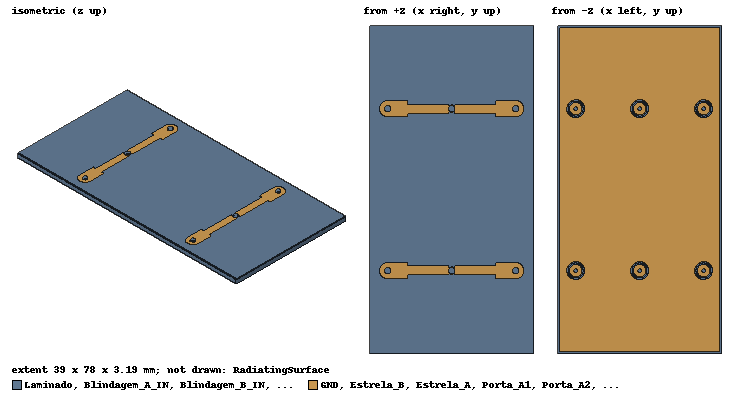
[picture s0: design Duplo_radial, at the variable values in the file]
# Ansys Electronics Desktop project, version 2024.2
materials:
  vacuum: permittivity=1
  ZYF300CA_C: permittivity=2.94 dielectric_loss_tangent=0.0016
  SAC305: permeability=1 conductivity=7575758
  PTFE_UT141: permittivity=2.036 dielectric_loss_tangent=0.0002
  copper: permeability=0.999991 conductivity=58000000
  NiP_estimado: permeability=1 conductivity=1500000
  Ouro_nom: permeability=1 conductivity=41000000
  Cobre_Groiss_equivalente: permeability=1 conductivity=28688604

design Duplo_radial (HFSS, HFSS Hybrid Modal Network, model units mm)
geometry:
  Laminado [ZYF300CA_C] = box(corner=(-19.5mm, -39mm, 0mm), size=(39mm, 78mm, 1.52mm))
  GND = polyline(z=0mm, xy in mm: (-18.98, -38.48) (18.98, -38.48) (18.98, 38.48) (-18.98, 38.48) (-18.98, -38.48), closed, covered)
  Estrela_B = polyline(z=1.52mm, xy in mm: (-15.45269871, 17.33056275) (-15.70107367, 17.3799676) (-15.94087513, 17.46136923) (-16.168, 17.57337482) (-16.37856213, 17.71406793) (-16.56895873, 17.88104127) (-16.73593207, 18.07143787) (-16.87662518, 18.282) (-16.98863077, 18.50912487) (-17.0700324, 18.74892633) (-17.11943725, 18.99730129) (-17.136, 19.25) (-17.11943725, 19.50269871) (-17.0700324, 19.75107367) (-16.98863077, 19.99087513) (-16.87662518, 20.218) (-16.73593207, 20.42856213) (-16.56895873, 20.61895873) (-16.37856213, 20.78593207) (-16.168, 20.92662518) (-15.94087513, 21.03863077) (-15.70107367, 21.1200324) (-15.45269871, 21.16943725) (-15.2, 21.186) (-10.388, 21.186) (-10.388, 20.316) (-0.6, 20.316) (-0.6, 19.86522572) (-0.52353483, 19.93228387) (-0.43, 19.99478185) (-0.32910775, 20.0445364) (-0.22258438, 20.08069621) (-0.11225253, 20.10264258) (0, 20.11) (0.11225253, 20.10264258) (0.22258438, 20.08069621) (0.32910775, 20.0445364) (0.43, 19.99478185) (0.52353483, 19.93228387) (0.6, 19.86522572) (0.6, 20.316) (10.388, 20.316) (10.388, 21.186) (15.2, 21.186) (15.45269871, 21.16943725) (15.70107367, 21.1200324) (15.94087513, 21.03863077) (16.168, 20.92662518) (16.37856213, 20.78593207) (16.56895873, 20.61895873) (16.73593207, 20.42856213) (16.87662518, 20.218) (16.98863077, 19.99087513) (17.0700324, 19.75107367) (17.11943725, 19.50269871) (17.136, 19.25) (17.11943725, 18.99730129) (17.0700324, 18.74892633) (16.98863077, 18.50912487) (16.87662518, 18.282) (16.73593207, 18.07143787) (16.56895873, 17.88104127) (16.37856213, 17.71406793) (16.168, 17.57337482) (15.94087513, 17.46136923) (15.70107367, 17.3799676) (15.45269871, 17.33056275) (15.2, 17.314) (10.388, 17.314) (10.388, 18.184) (0.6, 18.184) (0.6, 18.63477428) (0.52353483, 18.56771613) (0.43, 18.50521815) (0.32910775, 18.4554636) (0.22258438, 18.41930379) (0.11225253, 18.39735742) (0, 18.39) (-0.11225253, 18.39735742) (-0.22258438, 18.41930379) (-0.32910775, 18.4554636) (-0.43, 18.50521815) (-0.52353483, 18.56771613) (-0.6, 18.63477428) (-0.6, 18.184) (-10.388, 18.184) (-10.388, 17.314) (-15.2, 17.314) (-15.2, 17.314) (-15.45269871, 17.33056275), closed, covered)
  Estrela_A = polyline(z=1.52mm, xy in mm: (-10.388, -17.314) (-10.388, -18.184) (-0.6, -18.184) (-0.6, -18.63477428) (-0.52353483, -18.56771613) (-0.43, -18.50521815) (-0.32910775, -18.4554636) (-0.22258438, -18.41930379) (-0.11225253, -18.39735742) (0, -18.39) (0.11225253, -18.39735742) (0.22258438, -18.41930379) (0.32910775, -18.4554636) (0.43, -18.50521815) (0.52353483, -18.56771613) (0.6, -18.63477428) (0.6, -18.184) (10.388, -18.184) (10.388, -17.314) (15.2, -17.314) (15.45269871, -17.33056275) (15.70107367, -17.3799676) (15.94087513, -17.46136923) (16.168, -17.57337482) (16.37856213, -17.71406793) (16.56895873, -17.88104127) (16.73593207, -18.07143787) (16.87662518, -18.282) (16.98863077, -18.50912487) (17.0700324, -18.74892633) (17.11943725, -18.99730129) (17.136, -19.25) (17.11943725, -19.50269871) (17.0700324, -19.75107367) (16.98863077, -19.99087513) (16.87662518, -20.218) (16.73593207, -20.42856213) (16.56895873, -20.61895873) (16.37856213, -20.78593207) (16.168, -20.92662518) (15.94087513, -21.03863077) (15.70107367, -21.1200324) (15.45269871, -21.16943725) (15.2, -21.186) (10.388, -21.186) (10.388, -20.316) (0.6, -20.316) (0.6, -19.86522572) (0.52353483, -19.93228387) (0.43, -19.99478185) (0.32910775, -20.0445364) (0.22258438, -20.08069621) (0.11225253, -20.10264258) (0, -20.11) (-0.11225253, -20.10264258) (-0.22258438, -20.08069621) (-0.32910775, -20.0445364) (-0.43, -19.99478185) (-0.52353483, -19.93228387) (-0.6, -19.86522572) (-0.6, -20.316) (-10.388, -20.316) (-10.388, -21.186) (-15.2, -21.186) (-15.45269871, -21.16943725) (-15.70107367, -21.1200324) (-15.94087513, -21.03863077) (-16.168, -20.92662518) (-16.37856213, -20.78593207) (-16.56895873, -20.61895873) (-16.73593207, -20.42856213) (-16.87662518, -20.218) (-16.98863077, -19.99087513) (-17.0700324, -19.75107367) (-17.11943725, -19.50269871) (-17.136, -19.25) (-17.11943725, -18.99730129) (-17.0700324, -18.74892633) (-16.98863077, -18.50912487) (-16.87662518, -18.282) (-16.73593207, -18.07143787) (-16.56895873, -17.88104127) (-16.37856213, -17.71406793) (-16.168, -17.57337482) (-15.94087513, -17.46136923) (-15.70107367, -17.3799676) (-15.45269871, -17.33056275) (-15.2, -17.314) (-15.2, -17.314) (-10.388, -17.314), closed, covered)
  Abertura_A_IN = circle(normal=Z, centre=(0mm, -19.25mm, 0mm), radius=1.515mm, segments=24)
  Pino_A_IN [copper] = cylinder(axis=Z, base_centre=(0mm, -19.25mm, 0mm), radius=0.525mm, height=1.52mm, segments=24)
  Anel_A_IN = circle(normal=Z, centre=(0mm, -19.25mm, 0mm), radius=0.73mm, segments=24)
  Blindagem_A_IN [copper] = cylinder(axis=Z, base_centre=(0mm, -19.25mm, -1.5mm), radius=1.7905mm, height=1.5mm, segments=24)
  PTFE_A_IN [PTFE_UT141] = cylinder(axis=Z, base_centre=(0mm, -19.25mm, -1.5mm), radius=1.515mm, height=1.5mm, segments=24)
  PTFE_A_IN_1 = PTFE_A_IN.copy()
  Blindagem_A_IN.subtract(PTFE_A_IN_1)
  Central_A_IN [copper] = cylinder(axis=Z, base_centre=(0mm, -19.25mm, -1.5mm), radius=0.45975mm, height=1.5mm, segments=24)
  Central_A_IN_1 = Central_A_IN.copy()
  PTFE_A_IN.subtract(Central_A_IN_1)
  Solda_ext_A_IN [SAC305] = cylinder(axis=Z, base_centre=(0mm, -19.25mm, -0.18mm), radius=2.13mm, height=0.18mm, segments=24)
  Recorte_ext_A_IN = cylinder(axis=Z, base_centre=(0mm, -19.25mm, -0.18mm), radius=1.7905mm, height=0.18mm, segments=24)
  Solda_ext_A_IN.subtract(Recorte_ext_A_IN)
  Solda_top_A_IN [SAC305] = cylinder(axis=Z, base_centre=(0mm, -19.25mm, 1.52mm), radius=0.74mm, height=0.17mm, segments=24)
  Abertura_A1 = circle(normal=Z, centre=(-15.2mm, -19.25mm, 0mm), radius=1.515mm, segments=24)
  Pino_A1 [copper] = cylinder(axis=Z, base_centre=(-15.2mm, -19.25mm, 0mm), radius=0.525mm, height=1.52mm, segments=24)
  Anel_A1 = circle(normal=Z, centre=(-15.2mm, -19.25mm, 0mm), radius=0.73mm, segments=24)
  Blindagem_A1 [copper] = cylinder(axis=Z, base_centre=(-15.2mm, -19.25mm, -1.5mm), radius=1.7905mm, height=1.5mm, segments=24)
  PTFE_A1 [PTFE_UT141] = cylinder(axis=Z, base_centre=(-15.2mm, -19.25mm, -1.5mm), radius=1.515mm, height=1.5mm, segments=24)
  PTFE_A1_1 = PTFE_A1.copy()
  Blindagem_A1.subtract(PTFE_A1_1)
  Central_A1 [copper] = cylinder(axis=Z, base_centre=(-15.2mm, -19.25mm, -1.5mm), radius=0.45975mm, height=1.5mm, segments=24)
  Central_A1_1 = Central_A1.copy()
  PTFE_A1.subtract(Central_A1_1)
  Solda_ext_A1 [SAC305] = cylinder(axis=Z, base_centre=(-15.2mm, -19.25mm, -0.18mm), radius=2.13mm, height=0.18mm, segments=24)
  Recorte_ext_A1 = cylinder(axis=Z, base_centre=(-15.2mm, -19.25mm, -0.18mm), radius=1.7905mm, height=0.18mm, segments=24)
  Solda_ext_A1.subtract(Recorte_ext_A1)
  Solda_top_A1 [SAC305] = cylinder(axis=Z, base_centre=(-15.2mm, -19.25mm, 1.52mm), radius=0.74mm, height=0.17mm, segments=24)
  Abertura_A2 = circle(normal=Z, centre=(15.2mm, -19.25mm, 0mm), radius=1.515mm, segments=24)
  Pino_A2 [copper] = cylinder(axis=Z, base_centre=(15.2mm, -19.25mm, 0mm), radius=0.525mm, height=1.52mm, segments=24)
  Anel_A2 = circle(normal=Z, centre=(15.2mm, -19.25mm, 0mm), radius=0.73mm, segments=24)
  Blindagem_A2 [copper] = cylinder(axis=Z, base_centre=(15.2mm, -19.25mm, -1.5mm), radius=1.7905mm, height=1.5mm, segments=24)
  PTFE_A2 [PTFE_UT141] = cylinder(axis=Z, base_centre=(15.2mm, -19.25mm, -1.5mm), radius=1.515mm, height=1.5mm, segments=24)
  PTFE_A2_1 = PTFE_A2.copy()
  Blindagem_A2.subtract(PTFE_A2_1)
  Central_A2 [copper] = cylinder(axis=Z, base_centre=(15.2mm, -19.25mm, -1.5mm), radius=0.45975mm, height=1.5mm, segments=24)
  Central_A2_1 = Central_A2.copy()
  PTFE_A2.subtract(Central_A2_1)
  Solda_ext_A2 [SAC305] = cylinder(axis=Z, base_centre=(15.2mm, -19.25mm, -0.18mm), radius=2.13mm, height=0.18mm, segments=24)
  Recorte_ext_A2 = cylinder(axis=Z, base_centre=(15.2mm, -19.25mm, -0.18mm), radius=1.7905mm, height=0.18mm, segments=24)
  Solda_ext_A2.subtract(Recorte_ext_A2)
  Solda_top_A2 [SAC305] = cylinder(axis=Z, base_centre=(15.2mm, -19.25mm, 1.52mm), radius=0.74mm, height=0.17mm, segments=24)
  Abertura_B_IN = circle(normal=Z, centre=(0mm, 19.25mm, 0mm), radius=1.515mm, segments=24)
  Pino_B_IN [copper] = cylinder(axis=Z, base_centre=(0mm, 19.25mm, 0mm), radius=0.525mm, height=1.52mm, segments=24)
  Anel_B_IN = circle(normal=Z, centre=(0mm, 19.25mm, 0mm), radius=0.73mm, segments=24)
  Blindagem_B_IN [copper] = cylinder(axis=Z, base_centre=(0mm, 19.25mm, -1.5mm), radius=1.7905mm, height=1.5mm, segments=24)
  PTFE_B_IN [PTFE_UT141] = cylinder(axis=Z, base_centre=(0mm, 19.25mm, -1.5mm), radius=1.515mm, height=1.5mm, segments=24)
  PTFE_B_IN_1 = PTFE_B_IN.copy()
  Blindagem_B_IN.subtract(PTFE_B_IN_1)
  Central_B_IN [copper] = cylinder(axis=Z, base_centre=(0mm, 19.25mm, -1.5mm), radius=0.45975mm, height=1.5mm, segments=24)
  Central_B_IN_1 = Central_B_IN.copy()
  PTFE_B_IN.subtract(Central_B_IN_1)
  Solda_ext_B_IN [SAC305] = cylinder(axis=Z, base_centre=(0mm, 19.25mm, -0.18mm), radius=2.13mm, height=0.18mm, segments=24)
  Recorte_ext_B_IN = cylinder(axis=Z, base_centre=(0mm, 19.25mm, -0.18mm), radius=1.7905mm, height=0.18mm, segments=24)
  Solda_ext_B_IN.subtract(Recorte_ext_B_IN)
  Solda_top_B_IN [SAC305] = cylinder(axis=Z, base_centre=(0mm, 19.25mm, 1.52mm), radius=0.74mm, height=0.17mm, segments=24)
  Abertura_B1 = circle(normal=Z, centre=(-15.2mm, 19.25mm, 0mm), radius=1.515mm, segments=24)
  Pino_B1 [copper] = cylinder(axis=Z, base_centre=(-15.2mm, 19.25mm, 0mm), radius=0.525mm, height=1.52mm, segments=24)
  Anel_B1 = circle(normal=Z, centre=(-15.2mm, 19.25mm, 0mm), radius=0.73mm, segments=24)
  Blindagem_B1 [copper] = cylinder(axis=Z, base_centre=(-15.2mm, 19.25mm, -1.5mm), radius=1.7905mm, height=1.5mm, segments=24)
  PTFE_B1 [PTFE_UT141] = cylinder(axis=Z, base_centre=(-15.2mm, 19.25mm, -1.5mm), radius=1.515mm, height=1.5mm, segments=24)
  PTFE_B1_1 = PTFE_B1.copy()
  Blindagem_B1.subtract(PTFE_B1_1)
  Central_B1 [copper] = cylinder(axis=Z, base_centre=(-15.2mm, 19.25mm, -1.5mm), radius=0.45975mm, height=1.5mm, segments=24)
  Central_B1_1 = Central_B1.copy()
  PTFE_B1.subtract(Central_B1_1)
  Solda_ext_B1 [SAC305] = cylinder(axis=Z, base_centre=(-15.2mm, 19.25mm, -0.18mm), radius=2.13mm, height=0.18mm, segments=24)
  Recorte_ext_B1 = cylinder(axis=Z, base_centre=(-15.2mm, 19.25mm, -0.18mm), radius=1.7905mm, height=0.18mm, segments=24)
  Solda_ext_B1.subtract(Recorte_ext_B1)
  Solda_top_B1 [SAC305] = cylinder(axis=Z, base_centre=(-15.2mm, 19.25mm, 1.52mm), radius=0.74mm, height=0.17mm, segments=24)
  Abertura_B2 = circle(normal=Z, centre=(15.2mm, 19.25mm, 0mm), radius=1.515mm, segments=24)
  Pino_B2 [copper] = cylinder(axis=Z, base_centre=(15.2mm, 19.25mm, 0mm), radius=0.525mm, height=1.52mm, segments=24)
  Anel_B2 = circle(normal=Z, centre=(15.2mm, 19.25mm, 0mm), radius=0.73mm, segments=24)
  Blindagem_B2 [copper] = cylinder(axis=Z, base_centre=(15.2mm, 19.25mm, -1.5mm), radius=1.7905mm, height=1.5mm, segments=24)
  PTFE_B2 [PTFE_UT141] = cylinder(axis=Z, base_centre=(15.2mm, 19.25mm, -1.5mm), radius=1.515mm, height=1.5mm, segments=24)
  PTFE_B2_1 = PTFE_B2.copy()
  Blindagem_B2.subtract(PTFE_B2_1)
  Central_B2 [copper] = cylinder(axis=Z, base_centre=(15.2mm, 19.25mm, -1.5mm), radius=0.45975mm, height=1.5mm, segments=24)
  Central_B2_1 = Central_B2.copy()
  PTFE_B2.subtract(Central_B2_1)
  Solda_ext_B2 [SAC305] = cylinder(axis=Z, base_centre=(15.2mm, 19.25mm, -0.18mm), radius=2.13mm, height=0.18mm, segments=24)
  Recorte_ext_B2 = cylinder(axis=Z, base_centre=(15.2mm, 19.25mm, -0.18mm), radius=1.7905mm, height=0.18mm, segments=24)
  Solda_ext_B2.subtract(Recorte_ext_B2)
  Solda_top_B2 [SAC305] = cylinder(axis=Z, base_centre=(15.2mm, 19.25mm, 1.52mm), radius=0.74mm, height=0.17mm, segments=24)
  GND.subtract(Abertura_A_IN, Abertura_A1, Abertura_A2, Abertura_B_IN, Abertura_B1, Abertura_B2)
  Pino_A_IN_1 = Pino_A_IN.copy()
  Pino_A1_1 = Pino_A1.copy()
  Pino_A2_1 = Pino_A2.copy()
  Pino_B_IN_1 = Pino_B_IN.copy()
  Pino_B1_1 = Pino_B1.copy()
  Pino_B2_1 = Pino_B2.copy()
  Laminado.subtract(Pino_A_IN_1, Pino_A1_1, Pino_A2_1, Pino_B_IN_1, Pino_B1_1, Pino_B2_1)
  Porta_A_IN = circle(normal=Z, centre=(0mm, -19.25mm, -1.5mm), radius=1.515mm, segments=24)
  Buraco_A_IN = circle(normal=Z, centre=(0mm, -19.25mm, -1.5mm), radius=0.45975mm, segments=24)
  Porta_A_IN.subtract(Buraco_A_IN)
  Porta_A1 = circle(normal=Z, centre=(-15.2mm, -19.25mm, -1.5mm), radius=1.515mm, segments=24)
  Buraco_A1 = circle(normal=Z, centre=(-15.2mm, -19.25mm, -1.5mm), radius=0.45975mm, segments=24)
  Porta_A1.subtract(Buraco_A1)
  Porta_A2 = circle(normal=Z, centre=(15.2mm, -19.25mm, -1.5mm), radius=1.515mm, segments=24)
  Buraco_A2 = circle(normal=Z, centre=(15.2mm, -19.25mm, -1.5mm), radius=0.45975mm, segments=24)
  Porta_A2.subtract(Buraco_A2)
  Porta_B_IN = circle(normal=Z, centre=(0mm, 19.25mm, -1.5mm), radius=1.515mm, segments=24)
  Buraco_B_IN = circle(normal=Z, centre=(0mm, 19.25mm, -1.5mm), radius=0.45975mm, segments=24)
  Porta_B_IN.subtract(Buraco_B_IN)
  Porta_B1 = circle(normal=Z, centre=(-15.2mm, 19.25mm, -1.5mm), radius=1.515mm, segments=24)
  Buraco_B1 = circle(normal=Z, centre=(-15.2mm, 19.25mm, -1.5mm), radius=0.45975mm, segments=24)
  Porta_B1.subtract(Buraco_B1)
  Porta_B2 = circle(normal=Z, centre=(15.2mm, 19.25mm, -1.5mm), radius=1.515mm, segments=24)
  Buraco_B2 = circle(normal=Z, centre=(15.2mm, 19.25mm, -1.5mm), radius=0.45975mm, segments=24)
  Porta_B2.subtract(Buraco_B2)
  RadiatingSurface [vacuum] = region(absolute_offset=19.646365mm on all sides)
  Recorte_ENIG_GND_A_IN = circle(normal=Z, centre=(0mm, -19.25mm, 0mm), radius=2.13mm, segments=24)
  GND.subtract(Recorte_ENIG_GND_A_IN)
  Recorte_ENIG_Anel_A_IN_A_IN = circle(normal=Z, centre=(0mm, -19.25mm, 0mm), radius=0.525mm, segments=24)
  Anel_A_IN.subtract(Recorte_ENIG_Anel_A_IN_A_IN)
  Recorte_ENIG_Estrela_A_A_IN = circle(normal=Z, centre=(0mm, -19.25mm, 1.52mm), radius=0.74mm, segments=24)
  Estrela_A.subtract(Recorte_ENIG_Estrela_A_A_IN)
  Recorte_ENIG_GND_A1 = circle(normal=Z, centre=(-15.2mm, -19.25mm, 0mm), radius=2.13mm, segments=24)
  GND.subtract(Recorte_ENIG_GND_A1)
  Recorte_ENIG_Anel_A1_A1 = circle(normal=Z, centre=(-15.2mm, -19.25mm, 0mm), radius=0.525mm, segments=24)
  Anel_A1.subtract(Recorte_ENIG_Anel_A1_A1)
  Recorte_ENIG_Estrela_A_A1 = circle(normal=Z, centre=(-15.2mm, -19.25mm, 1.52mm), radius=0.74mm, segments=24)
  Estrela_A.subtract(Recorte_ENIG_Estrela_A_A1)
  Recorte_ENIG_GND_A2 = circle(normal=Z, centre=(15.2mm, -19.25mm, 0mm), radius=2.13mm, segments=24)
  GND.subtract(Recorte_ENIG_GND_A2)
  Recorte_ENIG_Anel_A2_A2 = circle(normal=Z, centre=(15.2mm, -19.25mm, 0mm), radius=0.525mm, segments=24)
  Anel_A2.subtract(Recorte_ENIG_Anel_A2_A2)
  Recorte_ENIG_Estrela_A_A2 = circle(normal=Z, centre=(15.2mm, -19.25mm, 1.52mm), radius=0.74mm, segments=24)
  Estrela_A.subtract(Recorte_ENIG_Estrela_A_A2)
  Recorte_ENIG_GND_B_IN = circle(normal=Z, centre=(0mm, 19.25mm, 0mm), radius=2.13mm, segments=24)
  GND.subtract(Recorte_ENIG_GND_B_IN)
  Recorte_ENIG_Anel_B_IN_B_IN = circle(normal=Z, centre=(0mm, 19.25mm, 0mm), radius=0.525mm, segments=24)
  Anel_B_IN.subtract(Recorte_ENIG_Anel_B_IN_B_IN)
  Recorte_ENIG_Estrela_B_B_IN = circle(normal=Z, centre=(0mm, 19.25mm, 1.52mm), radius=0.74mm, segments=24)
  Estrela_B.subtract(Recorte_ENIG_Estrela_B_B_IN)
  Recorte_ENIG_GND_B1 = circle(normal=Z, centre=(-15.2mm, 19.25mm, 0mm), radius=2.13mm, segments=24)
  GND.subtract(Recorte_ENIG_GND_B1)
  Recorte_ENIG_Anel_B1_B1 = circle(normal=Z, centre=(-15.2mm, 19.25mm, 0mm), radius=0.525mm, segments=24)
  Anel_B1.subtract(Recorte_ENIG_Anel_B1_B1)
  Recorte_ENIG_Estrela_B_B1 = circle(normal=Z, centre=(-15.2mm, 19.25mm, 1.52mm), radius=0.74mm, segments=24)
  Estrela_B.subtract(Recorte_ENIG_Estrela_B_B1)
  Recorte_ENIG_GND_B2 = circle(normal=Z, centre=(15.2mm, 19.25mm, 0mm), radius=2.13mm, segments=24)
  GND.subtract(Recorte_ENIG_GND_B2)
  Recorte_ENIG_Anel_B2_B2 = circle(normal=Z, centre=(15.2mm, 19.25mm, 0mm), radius=0.525mm, segments=24)
  Anel_B2.subtract(Recorte_ENIG_Anel_B2_B2)
  Recorte_ENIG_Estrela_B_B2 = circle(normal=Z, centre=(15.2mm, 19.25mm, 1.52mm), radius=0.74mm, segments=24)
  Estrela_B.subtract(Recorte_ENIG_Estrela_B_B2)
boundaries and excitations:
  Open1: Radiation Objects=RadiatingSurface
  ENIG_inverso: Layered Impedance Objects=[GND, Estrela_B, Estrela_A, Anel_A_IN, Anel_A1, Anel_A2, Anel_B_IN, Anel_B1, Anel_B2] Frequency=0GHz IsTwoSided IsShellElement Layers{Layer1{Thickness=35um Material=Cobre_Groiss_equivalente} Layer2{Thickness=4.5um Material=NiP_estimado} Layer3{Thickness=0.0254um Material=Ouro_nom}}
  A_IN: Lumped Port Objects=Porta_A_IN LumpedPortType=Modal Modes{Mode1{IntLine{(0.45975, -19.25, -1.5) -> (1.515, -19.25, -1.5)} CharImp=Zpi RenormImp=50ohm}} Impedance=50ohm
  A1: Lumped Port Objects=Porta_A1 LumpedPortType=Modal Modes{Mode1{IntLine{(-14.74025, -19.25, -1.5) -> (-13.685, -19.25, -1.5)} CharImp=Zpi RenormImp=50ohm}} Impedance=50ohm
  A2: Lumped Port Objects=Porta_A2 LumpedPortType=Modal Modes{Mode1{IntLine{(15.65975, -19.25, -1.5) -> (16.715, -19.25, -1.5)} CharImp=Zpi RenormImp=50ohm}} Impedance=50ohm
  B_IN: Lumped Port Objects=Porta_B_IN LumpedPortType=Modal Modes{Mode1{IntLine{(0.45975, 19.25, -1.5) -> (1.515, 19.25, -1.5)} CharImp=Zpi RenormImp=50ohm}} Impedance=50ohm
  B1: Lumped Port Objects=Porta_B1 LumpedPortType=Modal Modes{Mode1{IntLine{(-14.74025, 19.25, -1.5) -> (-13.685, 19.25, -1.5)} CharImp=Zpi RenormImp=50ohm}} Impedance=50ohm
  B2: Lumped Port Objects=Porta_B2 LumpedPortType=Modal Modes{Mode1{IntLine{(15.65975, 19.25, -1.5) -> (16.715, 19.25, -1.5)} CharImp=Zpi RenormImp=50ohm}} Impedance=50ohm
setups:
  Divisor: HfssDriven Frequency=5.17GHz MaxDeltaS=0.012 MaximumPasses=16 MinimumPasses=3 MinimumConvergedPasses=2 PercentRefinement=24 BasisOrder=1 PortAccuracy=2 DrivenSolverType="Direct Solver"
    sweep Banda: 5090MHz to 5250MHz step 10MHz; Type=Discrete
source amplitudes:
  A_IN:1: 1W 0deg
  A1:1, A2:1, B_IN:1, B1:1, B2:1: 0W 0deg
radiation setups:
  3D: Infinite Sphere Theta=0deg..180deg step 2deg Phi=-180deg..180deg step 2deg
  Elevation: Infinite Sphere Theta=-180deg..180deg step 1deg Phi=0deg..90deg step 90deg
  Azimuth: Infinite Sphere Theta=90deg..90deg step 0deg Phi=-180deg..180deg step 1deg
